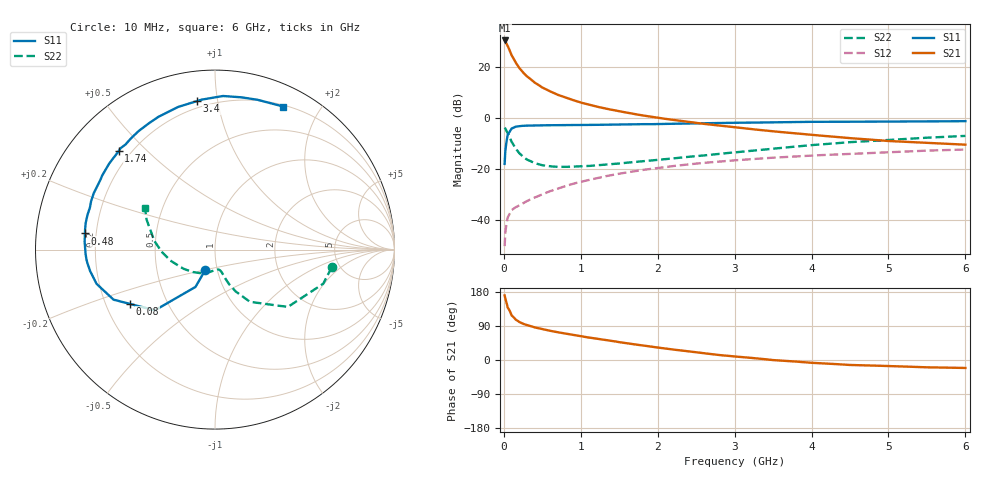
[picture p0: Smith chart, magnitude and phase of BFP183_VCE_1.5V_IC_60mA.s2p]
! Infineon Technologies  Discrete & RF Semiconductors
! BFP183
! VCE = 1.5 V,  IC =  60 mA
! Common Emitter S-Parameters:  Jan 2016
# GHz  S  MA  R  50
!  f  S11  S21  S12  S22
! GHz  MAG  ANG  MAG  ANG  MAG  ANG  MAG  ANG
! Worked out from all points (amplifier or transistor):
!   210 points, 10 MHz to 6 GHz, reference 50 ohm
!   highest |S21| = 30.6 dB at 10 MHz (marker M1)
!   |S21| within 3 dB of that: start of sweep to 62.85 MHz
!   unconditionally stable (mu >= 1): start of sweep to 41.66 MHz; 140.7 MHz to end of sweep
!   at 185 MHz: K = 1.15, MAG = 25.1 dB, |S12| = -34.4 dB
!   at 1.52 GHz: K = 1.85, MAG = 6.8 dB, |S12| = -21.6 dB
!   at 6 GHz: K = 1.50, MAG = -3.2 dB, |S12| = -12.2 dB
!   S11 on the Smith chart (normalised r, x): 10 MHz: 0.87, -0.20; 80 MHz: 0.30, -0.27; 480 MHz: 0.16, +0.06; 1.74 GHz: 0.15, +0.41; 3.4 GHz: 0.16, +0.87; 6 GHz: 0.22, +1.56
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0.01  0.128 -115.6  33.93 170.4  0.0031 62.5  0.6581 -8.6
0.02  0.2347 -117.6  32.8 161.2  0.0058 63.8  0.6322 -17.5
0.05  0.4754 -134.7  26.58 138.5  0.0113 56.8  0.5165 -38.2
0.08  0.5613 -147.4  20.82 128.2  0.0139 48.7  0.4116 -47.3
0.1  0.6302 -153.7  17.55 117.8  0.0158 44.8  0.3502 -56.2
0.15  0.687 -163.9  12.7 107.0  0.0179 43.7  0.2592 -63.8
0.2  0.7058 -170.2  9.8 100.4  0.0196 45.9  0.2081 -67.8
0.24  0.7145 -173.8  8.315 96.7  0.0211 47.2  0.183 -69.5
0.3  0.7213 -177.9  6.697 91.9  0.0238 50.6  0.1557 -71.2
0.4  0.7277 176.5  5.063 86.0  0.0279 54.1  0.1327 -73.4
0.48  0.7305 172.9  4.244 82.5  0.0314 56.0  0.1228 -75.3
0.6  0.7356 168.3  3.406 77.1  0.0372 58.7  0.1144 -78.3
0.7  0.7363 164.8  2.911 73.2  0.0417 59.9  0.1119 -80.6
1.02  0.7449 154.5  2.013 62.2  0.0577 60.9  0.1145 -90.2
1.3  0.7519 146.7  1.583 53.3  0.0719 59.8  0.1235 -99.0
1.74  0.7675 134.4  1.188 40.1  0.0938 56.4  0.1413 -113.2
2.02  0.7767 127.1  1.016 32.4  0.1074 53.4  0.1548 -122.1
3.1  0.8227 102.6  0.645 7.7  0.1539 41.2  0.2223 -156.2
3.4  0.8334 96.9  0.578 2.0  0.1654 37.8  0.2468 -164.0
4.1  0.8568 85.6  0.462 -8.4  0.1895 29.9  0.3065 179.7
5.1  0.8682 73.2  0.354 -16.5  0.2192 20.2  0.3848 161.4
6  0.8828 64.5  0.305 -21.0  0.245 10.4  0.4534 149.2
